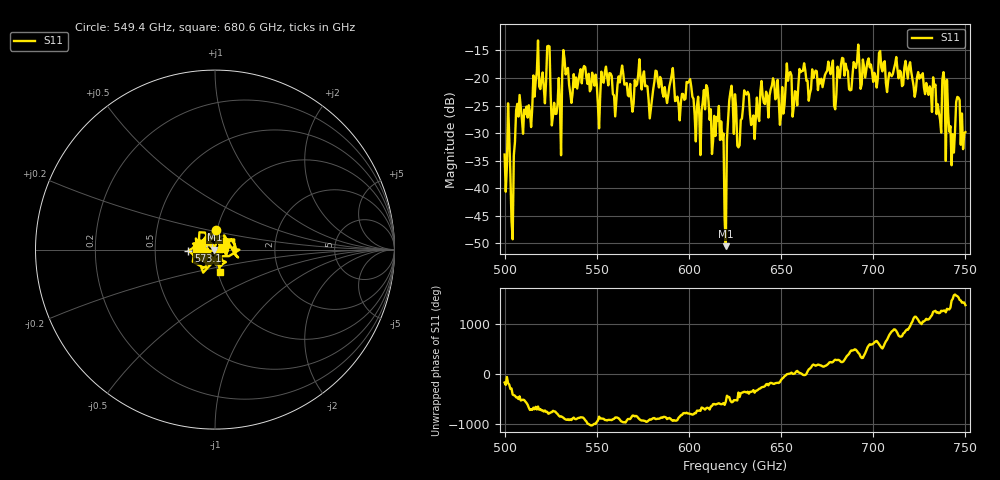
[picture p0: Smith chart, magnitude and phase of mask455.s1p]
!Created with skrf (http://scikit-rf.org).
# GHz S MA R 50.0
!freq magS11 angS11
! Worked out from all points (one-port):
!   401 points, 500 GHz to 750 GHz, reference 50 ohm
!   lowest |S11| = -50.5 dB at 620 GHz (marker M1), VSWR 1.01, Z = 49.7 + j0.0448 ohm
!   |S11| at or under -10 dB: start of sweep to end of sweep
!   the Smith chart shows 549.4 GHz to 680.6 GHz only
!   S11 on the Smith chart (normalised r, x): 549.4 GHz: 0.99, +0.21; 573.1 GHz: 0.74, -0.01; 680.6 GHz: 1.03, -0.26
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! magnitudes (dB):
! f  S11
! 500 GHz  -33.9
! 504.4 GHz  -49.2
! 507.5 GHz  -27.0
! 513.8 GHz  -26.2
! 516.9 GHz  -20.6
! 523.8 GHz  -14.2
! 526.9 GHz  -24.5
! 531.2 GHz  -19.3
! 533.1 GHz  -19.3
! 549.4 GHz  -19.4
! 562.5 GHz  -20.8
! 573.1 GHz  -16.6
! 593.8 GHz  -23.4
! 600 GHz  -20.7
! 605 GHz  -23.4
! 609.4 GHz  -21.3
! 617.5 GHz  -27.9
! 620 GHz  -50.5
! 622.5 GHz  -22.5
! 625 GHz  -22.9
! 656.2 GHz  -27.0
! 680.6 GHz  -17.9
! 687.5 GHz  -22.2
! 718.8 GHz  -20.1
! 738.8 GHz  -21.1
! 742.5 GHz  -35.8
! 745.6 GHz  -23.4
! 750 GHz  -29.8
